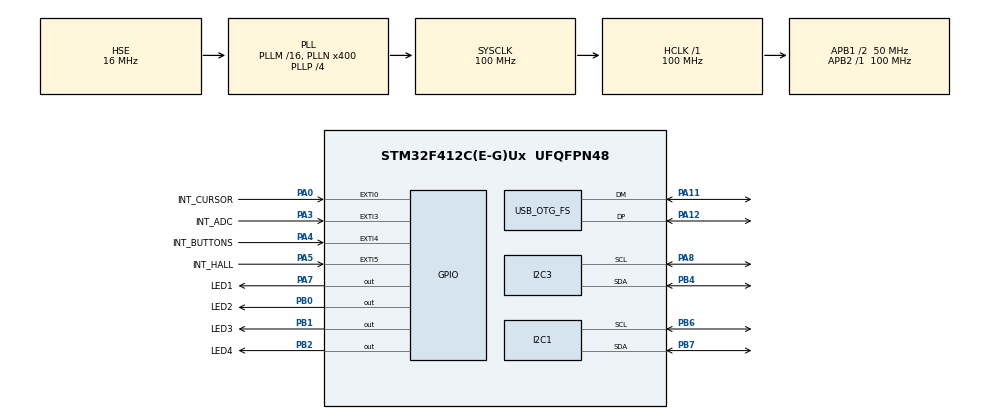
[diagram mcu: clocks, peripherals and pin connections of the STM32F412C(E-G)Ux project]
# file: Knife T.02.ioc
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I2C1.I2C_Mode=I2C_Fast
I2C3.I2C_Mode=I2C_Fast
Mcu.Family=STM32F4
Mcu.Name=STM32F412C(E-G)Ux
Mcu.Package=UFQFPN48
Mcu.UserConstants=CUSTOM_HID_EPIN_SIZE,0x40;CUSTOM_HID_EPOUT_SIZE,0x40
NVIC.EXTI0_IRQn=true\:0\:0\:false\:false\:true\:true\:true
NVIC.EXTI3_IRQn=true\:0\:0\:false\:false\:true\:true\:true
NVIC.EXTI4_IRQn=true\:0\:0\:false\:false\:true\:true\:true
NVIC.EXTI9_5_IRQn=true\:0\:0\:false\:false\:true\:true\:true
NVIC.OTG_FS_IRQn=true\:0\:0\:false\:false\:true\:false\:true
NVIC.PriorityGroup=NVIC_PRIORITYGROUP_4
PA0.GPIO_Label=INT_CURSOR
PA0.Signal=GPXTI0
PA11.Mode=Device_Only
PA11.Signal=USB_OTG_FS_DM
PA12.Mode=Device_Only
PA12.Signal=USB_OTG_FS_DP
PA13.Mode=Trace_Asynchronous_SW
PA13.Signal=SYS_JTMS-SWDIO
PA14.Mode=Trace_Asynchronous_SW
PA14.Signal=SYS_JTCK-SWCLK
PA3.GPIO_Label=INT_ADC
PA3.GPIO_ModeDefaultEXTI=GPIO_MODE_IT_FALLING
PA3.Signal=GPXTI3
PA4.GPIO_Label=INT_BUTTONS
PA4.GPIO_ModeDefaultEXTI=GPIO_MODE_IT_FALLING
PA4.Signal=GPXTI4
PA5.GPIO_Label=INT_HALL
PA5.Signal=GPXTI5
PA7.GPIO_Label=LED1
PA7.Signal=GPIO_Output
PA8.Mode=I2C
PA8.Signal=I2C3_SCL
PB0.GPIO_Label=LED2
PB0.Signal=GPIO_Output
PB1.GPIO_Label=LED3
PB1.Signal=GPIO_Output
PB2.GPIO_Label=LED4
PB2.Signal=GPIO_Output
PB3.Mode=Trace_Asynchronous_SW
PB3.Signal=SYS_JTDO-SWO
PB4.Mode=I2C
PB4.Signal=I2C3_SDA
PB6.Mode=I2C
PB6.Signal=I2C1_SCL
PB7.Mode=I2C
PB7.Signal=I2C1_SDA
PH0\ -\ OSC_IN.Mode=HSE-External-Oscillator
PH0\ -\ OSC_IN.Signal=RCC_OSC_IN
PH1\ -\ OSC_OUT.Mode=HSE-External-Oscillator
PH1\ -\ OSC_OUT.Signal=RCC_OSC_OUT
ProjectManager.HeapSize=0x200
ProjectManager.StackSize=0x400
ProjectManager.TargetToolchain=STM32CubeIDE
RCC.AHBFreq_Value=100000000
RCC.APB1CLKDivider=RCC_HCLK_DIV2
RCC.APB1Freq_Value=50000000
RCC.APB1TimFreq_Value=100000000
RCC.APB2Freq_Value=100000000
RCC.APB2TimFreq_Value=100000000
RCC.CortexFreq_Value=100000000
RCC.EnbaleCSS=true
RCC.HCLKFreq_Value=100000000
RCC.HSE_VALUE=16000000
RCC.PLLI2SN=336
RCC.PLLI2SP=RCC_PLLI2SP_DIV4
RCC.PLLI2SQ=7
RCC.PLLN=400
RCC.PLLP=RCC_PLLP_DIV4
RCC.PLLQ=8
RCC.SYSCLKFreq_VALUE=100000000
RCC.SYSCLKSource=RCC_SYSCLKSOURCE_PLLCLK
RCC.USBCLockSelection=RCC_CLK48CLKSOURCE_PLLI2SQ
RCC.USBFreq_Value=48000000
RCC.VCOOutputFreq_Value=400000000
USB_DEVICE.CLASS_NAME_FS=CUSTOM_HID
USB_DEVICE.CONFIGURATION_STRING_CUSTOMHID_FS=Knife T.02
USB_DEVICE.CUSTOM_HID_FS_BINTERVAL=0x1
USB_DEVICE.INTERFACE_STRING_CUSTOMHID_FS=Knife T.02
USB_DEVICE.MANUFACTURER_STRING=Knife
USB_DEVICE.PID_CUSTOMHID_FS=22001
USB_DEVICE.PRODUCT_STRING_CUSTOMHID_FS=Knife T.02
USB_DEVICE.USBD_CUSTOMHID_OUTREPORT_BUF_SIZE=12
USB_DEVICE.USBD_CUSTOM_HID_REPORT_DESC_SIZE=48
USB_DEVICE.USBD_DEBUG_LEVEL=3
USB_DEVICE.USBD_SELF_POWERED=0
USB_DEVICE.VID=1150
USB_DEVICE.VirtualMode=CustomHid
USB_DEVICE.VirtualModeFS=Custom_Hid_FS
USB_OTG_FS.VirtualMode=Device_Only
VP_USB_DEVICE_VS_USB_DEVICE_CUSTOM_HID_FS.Mode=CUSTOM_HID_FS
board=custom

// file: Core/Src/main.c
/* USER CODE BEGIN Header */
/**
 ******************************************************************************
 * @file           : main.c
 * @brief          : Main program body
 ******************************************************************************
 * @attention
 *
 * <h2><center>&copy; Copyright (c) 2021 STMicroelectronics.
 * All rights reserved.</center></h2>
 *
 * This software component is licensed by ST under BSD 3-Clause license,
 * the "License"; You may not use this file except in compliance with the
 * License. You may obtain a copy of the License at:
 *                        opensource.org/licenses/BSD-3-Clause
 *
 ******************************************************************************
 */
/* USER CODE END Header */
#include "main.h"
#include "usb_device.h"

/* USER CODE BEGIN Includes */
#include "MLX90393.h"
#include "ADS122C04.h"
#include "PCAL6524.h"
#include "CalibrationStore.h"
#include "Leds.h"
/* USER CODE END Includes */

/* USER CODE BEGIN PTD */
typedef struct {
	int16_t x;
	int16_t y;
	int16_t rx;
	int16_t ry;
	int16_t rz;
	uint16_t buttons;
	uint8_t cutoff;
} UsbData;
/* USER CODE END PTD */

I2C_HandleTypeDef hi2c1;
I2C_HandleTypeDef hi2c3;

/* USER CODE BEGIN PV */
CalibrationStore calibration;
CalibrationStoreValues values;
MLX90393 hall;
ADS122C04 adc;
ADS122C04 cursor;
PCAL6524 buttons;
LEDS ledData;
UsbData usbD;

uint32_t calibrationLimit;
uint32_t tick;

/* USER CODE END PV */

void SystemClock_Config(void);
void MX_USB_DEVICE_DeInit();
static void MX_GPIO_Init(void);
static void MX_I2C1_Init(void);
static void MX_I2C3_Init(void);
/* USER CODE BEGIN PFP */
static void JumpToBootloader();
static void HAL_NVIC_Enable();
static void SYNC();
static void AXIS_Assign(CalibrationStoreValues *_dev, ADS122C04 *_adc,
		ADS122C04 *_cursor, MLX90393 *_hall);
int8_t CUSTOM_HID_OutEvent_FS(uint8_t *state);

/* USER CODE END PFP */

int main(void) {

	/* MCU Configuration--------------------------------------------------------*/

	/* Reset of all peripherals, Initializes the Flash interface and the Systick. */
	HAL_Init();

	/* Configure the system clock */
	SystemClock_Config();

	/* Initialize all configured peripherals */
	MX_GPIO_Init();
	MX_I2C1_Init();
	MX_USB_DEVICE_Init();
	MX_I2C3_Init();
	/* USER CODE BEGIN 2 */

	PCAL6524_Initialize(&buttons, &hi2c1);
	PCAL6524_ReadFromInterrupt(&buttons);

	if (PCAL6524_ReadBit(&buttons, 5)) {
		__enable_irq();

		MX_USB_DEVICE_DeInit();

		HAL_RCC_DeInit();
		HAL_DeInit();

		SysTick->CTRL = SysTick->LOAD = SysTick->VAL = 0;
		__HAL_SYSCFG_REMAPMEMORY_SYSTEMFLASH();

		const uint32_t p = (*((uint32_t*) 0x1FFF0000));
		__set_MSP(p);

		void (*SysMemBootJump)(void);
		SysMemBootJump = (void (*)(void)) (*((uint32_t*) 0x1FFF0004));
		SysMemBootJump();

		while (1)
			;
	}

	HAL_NVIC_Enable();

	LEDS_Initialize(&ledData, 50);
	MLX90393_Initialize(&hall, &hi2c3);
	ADS122C04_Initialize(&adc, &hi2c1, ADS122C04_I2C_ADDR_0);
	ADS122C04_Initialize(&cursor, &hi2c1, ADS122C04_I2C_ADDR_1);

	// check for active buttons, if button for calibrate set timeout
	if (PCAL6524_ReadBit(&buttons, 1)) {
		calibrationLimit = HAL_GetTick() + 20000;
		tick = HAL_GetTick();

		while ((tick = HAL_GetTick()) < calibrationLimit) {
			MLX90393_ReadFromInterrupt(&hall);
			ADS122C04_ReadAll(&adc);
			ADS122C04_ReadAll(&cursor);

			AXIS_Assign(&values, &adc, &cursor, &hall);
			CalibrationStore_Calibrate(&calibration, &values);

			double percentage = (double) tick / 15000;

			LEDS_SetDelay(&ledData, 500 - percentage * 500);
			LEDS_Run(&ledData, 1);
		}

		LEDS_Set(0, 0);
		LEDS_Set(1, 0);
		LEDS_Set(2, 0);
		LEDS_Set(3, 0);

		LEDS_SetDelay(&ledData, 50);

		CalibrationStore_Store(&calibration);
	} else if (PCAL6524_ReadBit(&buttons, 2)) {
		CalibrationStore_Retrieve(&calibration);
		calibrationLimit = HAL_GetTick() + 10000;
		tick = HAL_GetTick();

		calibration.x_axis_center = 0;
		calibration.x_axis_min = 0;
		calibration.x_axis_max = 0;
		calibration.y_axis_center = 0;
		calibration.y_axis_min = 0;
		calibration.y_axis_max = 0;

		while ((tick = HAL_GetTick()) < calibrationLimit) {
			ADS122C04_ReadAll(&cursor);
			AXIS_Assign(&values, &adc, &cursor, &hall);
			CalibrationStore_Cursor(&calibration, &values);
			double percentage = (double) tick / 15000;

			LEDS_SetDelay(&ledData, 500 - percentage * 500);
			LEDS_Run(&ledData, 1);
		}

		LEDS_Set(0, 0);
		LEDS_Set(1, 0);
		LEDS_Set(2, 0);
		LEDS_Set(3, 0);
		LEDS_SetDelay(&ledData, 50);
		CalibrationStore_Store(&calibration);

	} else {
		CalibrationStore_Retrieve(&calibration);
		ADS122C04_ReadAll(&cursor);
		AXIS_Assign(&values, &adc, &cursor, &hall);
		CalibrationStore_CursorCenter(&calibration, &values);
	}

	LEDS_Set(0, 1);
	LEDS_Set(1, 1);
	LEDS_Set(2, 1);
	LEDS_Set(3, 1);

	/* USER CODE END 2 */

	/* Infinite loop */
	while (1) {

		/* USER CODE BEGIN 3 */
		SYNC();

		CalibrationStore_Process(&calibration, &values);

		usbD.x = (int16_t) values.x_axis;
		usbD.y = (int16_t) values.y_axis;

		usbD.rx = (int16_t) values.rx;
		usbD.ry = (int16_t) values.ry;
		usbD.rz = (int16_t) values.rz;

		usbD.cutoff = values.cutoff;
		usbD.buttons = buttons.inputs;

		CUSTOM_HID_OutEvent_FS((uint8_t*) &usbD);
	}
	/* USER CODE END 3 */
}

void SystemClock_Config(void) {
	RCC_OscInitTypeDef RCC_OscInitStruct = { 0 };
	RCC_ClkInitTypeDef RCC_ClkInitStruct = { 0 };

	/** Configure the main internal regulator output voltage
	 */
	__HAL_RCC_PWR_CLK_ENABLE();
	__HAL_PWR_VOLTAGESCALING_CONFIG(PWR_REGULATOR_VOLTAGE_SCALE1);
	/** Initializes the RCC Oscillators according to the specified parameters
	 * in the RCC_OscInitTypeDef structure.
	 */
	RCC_OscInitStruct.OscillatorType = RCC_OSCILLATORTYPE_HSE;
	RCC_OscInitStruct.HSEState = RCC_HSE_ON;
	RCC_OscInitStruct.PLL.PLLState = RCC_PLL_ON;
	RCC_OscInitStruct.PLL.PLLSource = RCC_PLLSOURCE_HSE;
	RCC_OscInitStruct.PLL.PLLM = 16;
	RCC_OscInitStruct.PLL.PLLN = 400;
	RCC_OscInitStruct.PLL.PLLP = RCC_PLLP_DIV4;
	RCC_OscInitStruct.PLL.PLLQ = 8;
	RCC_OscInitStruct.PLL.PLLR = 2;
	if (HAL_RCC_OscConfig(&RCC_OscInitStruct) != HAL_OK) {
		Error_Handler();
	}
	/** Initializes the CPU, AHB and APB buses clocks
	 */
	RCC_ClkInitStruct.ClockType = RCC_CLOCKTYPE_HCLK | RCC_CLOCKTYPE_SYSCLK
			| RCC_CLOCKTYPE_PCLK1 | RCC_CLOCKTYPE_PCLK2;
	RCC_ClkInitStruct.SYSCLKSource = RCC_SYSCLKSOURCE_PLLCLK;
	RCC_ClkInitStruct.AHBCLKDivider = RCC_SYSCLK_DIV1;
	RCC_ClkInitStruct.APB1CLKDivider = RCC_HCLK_DIV2;
	RCC_ClkInitStruct.APB2CLKDivider = RCC_HCLK_DIV1;

	if (HAL_RCC_ClockConfig(&RCC_ClkInitStruct, FLASH_LATENCY_3) != HAL_OK) {
		Error_Handler();
	}
	/** Enables the Clock Security System
	 */
	HAL_RCC_EnableCSS();
}

static void MX_I2C1_Init(void) {

	hi2c1.Instance = I2C1;
	hi2c1.Init.ClockSpeed = 400000;
	hi2c1.Init.DutyCycle = I2C_DUTYCYCLE_2;
	hi2c1.Init.OwnAddress1 = 0;
	hi2c1.Init.AddressingMode = I2C_ADDRESSINGMODE_7BIT;
	hi2c1.Init.DualAddressMode = I2C_DUALADDRESS_DISABLE;
	hi2c1.Init.OwnAddress2 = 0;
	hi2c1.Init.GeneralCallMode = I2C_GENERALCALL_DISABLE;
	hi2c1.Init.NoStretchMode = I2C_NOSTRETCH_DISABLE;
	if (HAL_I2C_Init(&hi2c1) != HAL_OK) {
		Error_Handler();
	}

}

static void MX_I2C3_Init(void) {

	hi2c3.Instance = I2C3;
	hi2c3.Init.ClockSpeed = 400000;
	hi2c3.Init.DutyCycle = I2C_DUTYCYCLE_2;
	hi2c3.Init.OwnAddress1 = 0;
	hi2c3.Init.AddressingMode = I2C_ADDRESSINGMODE_7BIT;
	hi2c3.Init.DualAddressMode = I2C_DUALADDRESS_DISABLE;
	hi2c3.Init.OwnAddress2 = 0;
	hi2c3.Init.GeneralCallMode = I2C_GENERALCALL_DISABLE;
	hi2c3.Init.NoStretchMode = I2C_NOSTRETCH_DISABLE;
	if (HAL_I2C_Init(&hi2c3) != HAL_OK) {
		Error_Handler();
	}

}

static void MX_GPIO_Init(void) {
	GPIO_InitTypeDef GPIO_InitStruct = { 0 };

	/* GPIO Ports Clock Enable */
	__HAL_RCC_GPIOH_CLK_ENABLE();
	__HAL_RCC_GPIOA_CLK_ENABLE();
	__HAL_RCC_GPIOB_CLK_ENABLE();

	/*Configure GPIO pin Output Level */
	HAL_GPIO_WritePin(LED1_GPIO_Port, LED1_Pin, GPIO_PIN_RESET);

	/*Configure GPIO pin Output Level */
	HAL_GPIO_WritePin(GPIOB, LED2_Pin | LED3_Pin | LED4_Pin, GPIO_PIN_RESET);

	/*Configure GPIO pins : INT_CURSOR_Pin INT_HALL_Pin */
	GPIO_InitStruct.Pin = INT_CURSOR_Pin | INT_HALL_Pin;
	GPIO_InitStruct.Mode = GPIO_MODE_IT_RISING;
	GPIO_InitStruct.Pull = GPIO_NOPULL;
	HAL_GPIO_Init(GPIOA, &GPIO_InitStruct);

	/*Configure GPIO pins : INT_ADC_Pin INT_BUTTONS_Pin */
	GPIO_InitStruct.Pin = INT_ADC_Pin | INT_BUTTONS_Pin;
	GPIO_InitStruct.Mode = GPIO_MODE_IT_FALLING;
	GPIO_InitStruct.Pull = GPIO_NOPULL;
	HAL_GPIO_Init(GPIOA, &GPIO_InitStruct);

	/*Configure GPIO pin : LED1_Pin */
	GPIO_InitStruct.Pin = LED1_Pin;
	GPIO_InitStruct.Mode = GPIO_MODE_OUTPUT_PP;
	GPIO_InitStruct.Pull = GPIO_NOPULL;
	GPIO_InitStruct.Speed = GPIO_SPEED_FREQ_LOW;
	HAL_GPIO_Init(LED1_GPIO_Port, &GPIO_InitStruct);

	/*Configure GPIO pins : LED2_Pin LED3_Pin LED4_Pin */
	GPIO_InitStruct.Pin = LED2_Pin | LED3_Pin | LED4_Pin;
	GPIO_InitStruct.Mode = GPIO_MODE_OUTPUT_PP;
	GPIO_InitStruct.Pull = GPIO_NOPULL;
	GPIO_InitStruct.Speed = GPIO_SPEED_FREQ_LOW;
	HAL_GPIO_Init(GPIOB, &GPIO_InitStruct);

}

/* USER CODE BEGIN 4 */
void HAL_GPIO_EXTI_Callback(uint16_t GPIO_Pin) {
	switch (GPIO_Pin) {
	case GPIO_PIN_3:
		ADS122C04_ProcessInterrupt(&adc);
		break;
	case GPIO_PIN_4:
		PCAL6524_ProcessInterrupt(&buttons);
		break;
	case GPIO_PIN_5:
		MLX90393_ProcessInterrupt(&hall);
		break;
	}
}

void HAL_NVIC_Enable() {
	HAL_NVIC_SetPriority(EXTI0_IRQn, 0, 0);
	HAL_NVIC_EnableIRQ(EXTI0_IRQn);

	HAL_NVIC_SetPriority(EXTI3_IRQn, 0, 0);
	HAL_NVIC_EnableIRQ(EXTI3_IRQn);

	HAL_NVIC_SetPriority(EXTI4_IRQn, 0, 0);
	HAL_NVIC_EnableIRQ(EXTI4_IRQn);

	HAL_NVIC_SetPriority(EXTI9_5_IRQn, 0, 0);
	HAL_NVIC_EnableIRQ(EXTI9_5_IRQn);
}

void AXIS_Assign(CalibrationStoreValues *_dev, ADS122C04 *_adc,
		ADS122C04 *_cursor, MLX90393 *_hall) {
	_dev->rz = MLX90393_Rotation(_hall);
	_dev->y_axis = _cursor->ain[0];
	_dev->x_axis = _cursor->ain[1];
	_dev->rx = _adc->ain[2];
	_dev->ry = _adc->ain[3];

}

void SYNC() {
	MLX90393_ReadFromInterrupt(&hall);
	ADS122C04_ReadAll(&adc);
	ADS122C04_ReadAll(&cursor);
	AXIS_Assign(&values, &adc, &cursor, &hall);

	PCAL6524_ReadFromInterrupt(&buttons);
}

void JumpToBootloader(void) {
	__enable_irq();
	HAL_RCC_DeInit();
	HAL_DeInit();
	SysTick->CTRL = SysTick->LOAD = SysTick->VAL = 0;
	__HAL_SYSCFG_REMAPMEMORY_SYSTEMFLASH();

	const uint32_t p = (*((uint32_t*) 0x1FFF0000));
	__set_MSP(p);

	void (*SysMemBootJump)(void);
	SysMemBootJump = (void (*)(void)) (*((uint32_t*) 0x1FFF0004));
	SysMemBootJump();

	while (1) {
	}
}

/* USER CODE END 4 */

void Error_Handler(void) {
	__disable_irq();
	while (1) {
	}
}

/************************ (C) COPYRIGHT STMicroelectronics *****END OF FILE****/
